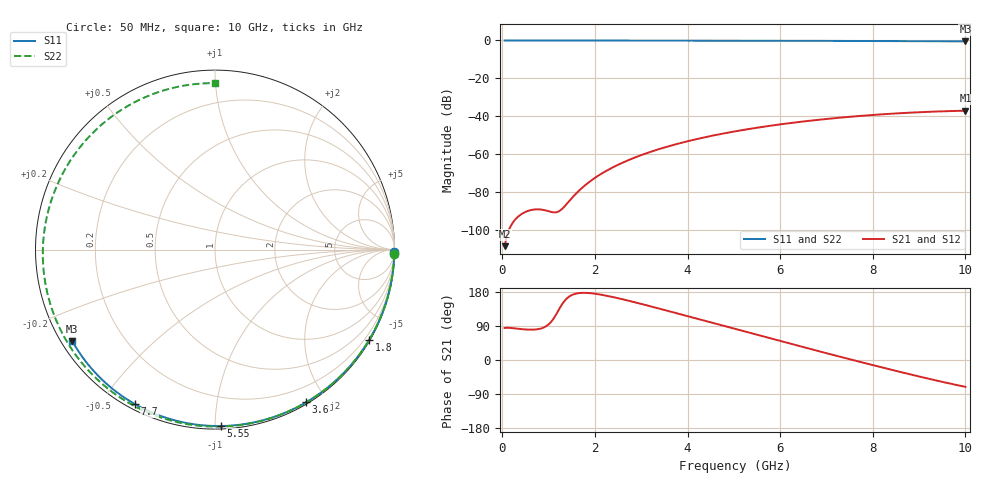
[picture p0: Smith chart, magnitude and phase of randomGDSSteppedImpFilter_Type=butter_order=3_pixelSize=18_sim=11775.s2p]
! freq	dB(S11)	phase(S11)	dB(S12)	phase(S12)
!  dB(S21)	phase(S21)	dB(S22)	phase(S22)
!S-par simulation data
#  GHz  S  DB  R 50
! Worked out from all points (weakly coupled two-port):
!   200 points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, 50 MHz to 10 GHz, reference 50 ohm
!   highest |S21| = -37.01 dB at 10 GHz (marker M1); lowest = -108.4 dB at 50 MHz (marker M2)
!   lowest |S11| = -0.5 dB at 10 GHz (marker M3), VSWR 35.03, Z = 1.55 - j14.6 ohm
!   |S11| at or under -10 dB: nowhere
!   |S22| runs from -0.7 to 0.0 dB; largest |S21 - S12| = 0
!   S11 on the Smith chart (normalised r, x): 50 MHz: open; 1.8 GHz: 0.03, -3.69; 3.6 GHz: 0.02, -1.76; 5.55 GHz: 0.02, -1.03; 7.7 GHz: 0.02, -0.61; 10 GHz: 0.03, -0.29
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0.05  -0.00 -0.9  -108.41 84.7  -108.41 84.7  -0.00 -1.3
0.8  -0.02 -13.6  -89.02 82.0  -89.02 82.0  -0.03 -21.6
1.6  -0.03 -27.0  -80.50 175.4  -80.50 175.4  -0.05 -42.8
1.75  -0.04 -29.5  -77.08 177.2  -77.08 177.2  -0.06 -46.7
1.8  -0.04 -30.4  -76.06 177.2  -76.06 177.2  -0.06 -48.0
2.1  -0.05 -35.3  -70.84 173.0  -70.84 173.0  -0.07 -55.7
2.45  -0.05 -41.0  -66.11 164.4  -66.11 164.4  -0.08 -64.6
2.9  -0.06 -48.2  -61.34 151.1  -61.34 151.1  -0.10 -75.9
3.4  -0.07 -56.1  -57.15 135.3  -57.15 135.3  -0.12 -88.2
3.6  -0.08 -59.2  -55.71 128.8  -55.71 128.8  -0.12 -93.1
4.3  -0.10 -69.8  -51.42 105.8  -51.42 105.8  -0.15 -109.9
5.05  -0.12 -80.9  -47.80 81.1  -47.80 81.1  -0.20 -127.8
5.55  -0.14 -88.1  -45.80 64.7  -45.80 64.7  -0.23 -139.8
6.15  -0.17 -96.5  -43.75 45.2  -43.75 45.2  -0.27 -154.4
6.7  -0.20 -104.0  -42.15 27.5  -42.15 27.5  -0.32 -168.2
7.2  -0.23 -110.8  -40.90 11.6  -40.90 11.6  -0.37 178.8
7.7  -0.27 -117.4  -39.82 -4.2  -39.82 -4.2  -0.42 165.0
8.35  -0.32 -125.9  -38.68 -24.2  -38.68 -24.2  -0.49 146.0
8.8  -0.36 -131.8  -38.06 -37.7  -38.06 -37.7  -0.54 131.8
9.25  -0.41 -137.6  -37.56 -50.7  -37.56 -50.7  -0.59 116.8
9.65  -0.45 -142.8  -37.23 -61.8  -37.23 -61.8  -0.63 102.8
10  -0.50 -147.3  -37.01 -70.9  -37.01 -70.9  -0.66 90.0
